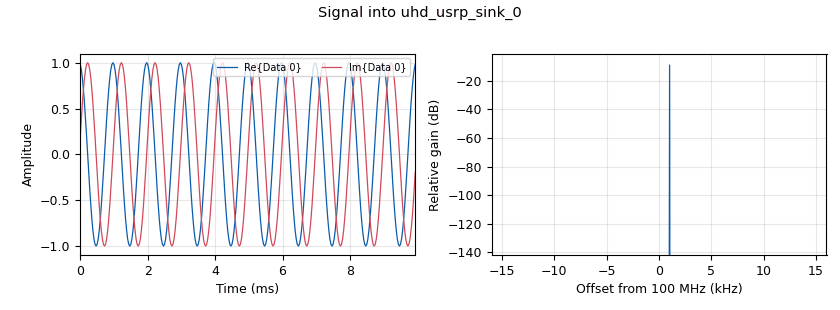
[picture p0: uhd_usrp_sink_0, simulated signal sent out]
options:
  parameters:
    author: Barrios- Cogollo
    copyright: Uis
    generate_options: qt_gui
    id: Instrumentacion
    output_language: python
    title: Configuracion
  states: {}

blocks:
- name: A
  id: variable_qtgui_range
  parameters:
    label: Amplitud_señal_TX
    orient: Qt.Horizontal
    start: '0'
    step: '0.0625'
    stop: '1'
    value: '1'
  states: {}
- name: GTX
  id: variable_qtgui_range
  parameters:
    label: Ganancia_Tx
    orient: Qt.Horizontal
    start: '0'
    step: '10'
    stop: '30'
    value: '0'
  states: {}
- name: fc
  id: variable_qtgui_range
  parameters:
    label: Frecuencia Portadora
    orient: Qt.Horizontal
    start: '50000000'
    step: '100000000'
    stop: '2000000000'
    value: '100000000'
  states: {}
- name: samp_rate
  id: variable
  parameters:
    value: '32000'
  states: {}
- name: analog_sig_source_x_0
  id: analog_sig_source_x
  parameters:
    amp: A
    freq: '1000'
    offset: '0'
    phase: '0'
    samp_rate: samp_rate
    type: complex
    waveform: analog.GR_COS_WAVE
  states: {}
- name: uhd_usrp_sink_0
  id: uhd_usrp_sink
  parameters:
    ant0: TX/RX
    center_freq0: fc
    dev_args: '""'
    gain0: GTX
    len_tag_name: ''
    norm_gain0: 'False'
    samp_rate: samp_rate
    sync: pc_clock
    type: fc32
  states: {}

connections:
- [analog_sig_source_x_0, '0', uhd_usrp_sink_0, '0']

metadata:
  file_format: 1
